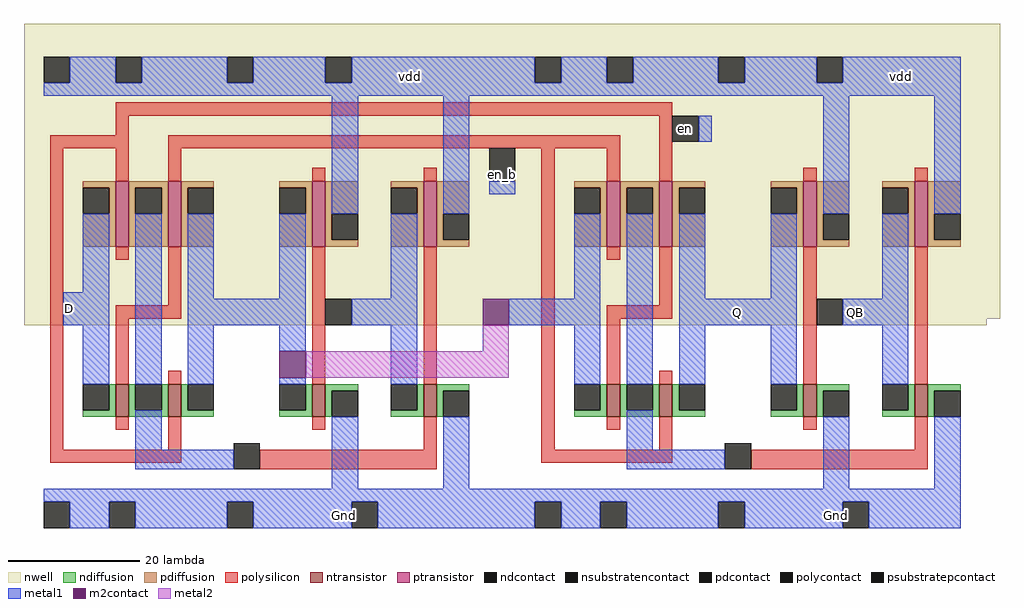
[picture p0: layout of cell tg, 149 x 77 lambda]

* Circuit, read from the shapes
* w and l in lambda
.subckt tg D Gnd Q QB en en_b vdd
M1 n1 en_b D Gnd nfet w=5 l=2
M2 n2 en n1 Gnd nfet w=5 l=2
M3 Gnd n3 n2 Gnd nfet w=5 l=2
M4 Gnd n1 n3 Gnd nfet w=5 l=2
M5 n4 en n2 Gnd nfet w=5 l=2
M6 Q en_b n4 Gnd nfet w=5 l=2
M7 Gnd QB Q Gnd nfet w=5 l=2
M8 Gnd n4 QB Gnd nfet w=5 l=2
M9 n1 en D vdd pfet w=10 l=2
M10 n2 en_b n1 vdd pfet w=10 l=2
M11 vdd n3 n2 vdd pfet w=10 l=2
M12 vdd n1 n3 vdd pfet w=10 l=2
M13 n4 en_b n2 vdd pfet w=10 l=2
M14 Q en n4 vdd pfet w=10 l=2
M15 vdd QB Q vdd pfet w=10 l=2
M16 vdd n4 QB vdd pfet w=10 l=2
.ends

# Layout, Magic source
magic
tech min2
<< nwell >>
rect -78 32 71 77
rect -78 31 69 32
<< ntransistor >>
rect -64 17 -62 22
rect -56 17 -54 22
rect -34 17 -32 22
rect -17 17 -15 22
rect 11 17 13 22
rect 19 17 21 22
rect 41 17 43 22
rect 58 17 60 22
<< ptransistor >>
rect -64 43 -62 53
rect -56 43 -54 53
rect -34 43 -32 53
rect -17 43 -15 53
rect 11 43 13 53
rect 19 43 21 53
rect 41 43 43 53
rect 58 43 60 53
<< ndiffusion >>
rect -65 18 -64 22
rect -69 17 -64 18
rect -62 18 -61 22
rect -57 18 -56 22
rect -62 17 -56 18
rect -54 18 -53 22
rect -54 17 -49 18
rect -35 18 -34 22
rect -39 17 -34 18
rect -32 21 -27 22
rect -32 17 -31 21
rect -18 18 -17 22
rect -22 17 -17 18
rect -15 21 -10 22
rect -15 17 -14 21
rect 10 18 11 22
rect 6 17 11 18
rect 13 18 14 22
rect 18 18 19 22
rect 13 17 19 18
rect 21 18 22 22
rect 21 17 26 18
rect 40 18 41 22
rect 36 17 41 18
rect 43 21 48 22
rect 43 17 44 21
rect 57 18 58 22
rect 53 17 58 18
rect 60 21 65 22
rect 60 17 61 21
<< pdiffusion >>
rect -69 52 -64 53
rect -65 48 -64 52
rect -69 43 -64 48
rect -62 52 -56 53
rect -62 48 -61 52
rect -57 48 -56 52
rect -62 43 -56 48
rect -54 52 -49 53
rect -54 48 -53 52
rect -54 43 -49 48
rect -39 52 -34 53
rect -35 48 -34 52
rect -39 43 -34 48
rect -32 48 -27 53
rect -32 44 -31 48
rect -32 43 -27 44
rect -22 52 -17 53
rect -18 48 -17 52
rect -22 43 -17 48
rect -15 48 -10 53
rect -15 44 -14 48
rect -15 43 -10 44
rect 6 52 11 53
rect 10 48 11 52
rect 6 43 11 48
rect 13 52 19 53
rect 13 48 14 52
rect 18 48 19 52
rect 13 43 19 48
rect 21 52 26 53
rect 21 48 22 52
rect 21 43 26 48
rect 36 52 41 53
rect 40 48 41 52
rect 36 43 41 48
rect 43 48 48 53
rect 43 44 44 48
rect 43 43 48 44
rect 53 52 58 53
rect 57 48 58 52
rect 53 43 58 48
rect 60 48 65 53
rect 60 44 61 48
rect 60 43 65 44
<< ndcontact >>
rect -69 18 -65 22
rect -61 18 -57 22
rect -53 18 -49 22
rect -39 18 -35 22
rect -31 17 -27 21
rect -22 18 -18 22
rect -14 17 -10 21
rect 6 18 10 22
rect 14 18 18 22
rect 22 18 26 22
rect 36 18 40 22
rect 44 17 48 21
rect 53 18 57 22
rect 61 17 65 21
<< pdcontact >>
rect -69 48 -65 52
rect -61 48 -57 52
rect -53 48 -49 52
rect -39 48 -35 52
rect -31 44 -27 48
rect -22 48 -18 52
rect -14 44 -10 48
rect 6 48 10 52
rect 14 48 18 52
rect 22 48 26 52
rect 36 48 40 52
rect 44 44 48 48
rect 53 48 57 52
rect 61 44 65 48
<< psubstratepcontact >>
rect -75 0 -71 4
rect -65 0 -61 4
rect -47 0 -43 4
rect -28 0 -24 4
rect 0 0 4 4
rect 10 0 14 4
rect 28 0 32 4
rect 47 0 51 4
<< nsubstratencontact >>
rect -75 68 -71 72
rect -64 68 -60 72
rect -47 68 -43 72
rect -32 68 -28 72
rect 0 68 4 72
rect 11 68 15 72
rect 28 68 32 72
rect 43 68 47 72
<< polysilicon >>
rect -64 63 21 65
rect -64 60 -62 63
rect -74 58 -62 60
rect -74 12 -72 58
rect -64 53 -62 58
rect -56 58 13 60
rect -56 53 -54 58
rect -34 53 -32 55
rect -17 53 -15 55
rect -64 41 -62 43
rect -56 34 -54 43
rect -64 32 -54 34
rect -64 22 -62 32
rect -56 22 -54 24
rect -34 22 -32 43
rect -17 22 -15 43
rect -64 15 -62 17
rect -56 12 -54 17
rect -34 15 -32 17
rect -74 10 -54 12
rect -17 12 -15 17
rect -42 9 -15 12
rect 1 12 3 58
rect 11 53 13 58
rect 19 53 21 63
rect 41 53 43 55
rect 58 53 60 55
rect 11 41 13 43
rect 19 34 21 43
rect 11 32 21 34
rect 11 22 13 32
rect 19 22 21 24
rect 41 22 43 43
rect 58 22 60 43
rect 11 15 13 17
rect 19 12 21 17
rect 41 15 43 17
rect 1 10 21 12
rect 58 12 60 17
rect 33 9 60 12
<< polycontact >>
rect -7 53 -3 58
rect -32 31 -28 35
rect -46 9 -42 13
rect 21 59 25 63
rect 43 31 47 35
rect 29 9 33 13
<< metal1 >>
rect -71 68 -64 72
rect -60 68 -47 72
rect -43 68 -32 72
rect -28 68 0 72
rect 4 68 11 72
rect 15 68 28 72
rect 32 68 43 72
rect 47 68 65 72
rect -75 66 65 68
rect -69 36 -65 48
rect -72 31 -65 36
rect -69 22 -65 31
rect -61 22 -57 48
rect -53 35 -49 48
rect -39 35 -35 48
rect -31 48 -27 66
rect -22 35 -18 48
rect -14 48 -10 66
rect 25 59 27 63
rect -7 51 -3 53
rect 6 35 10 48
rect -53 31 -35 35
rect -28 31 -18 35
rect -4 31 10 35
rect -53 22 -49 31
rect -39 27 -35 31
rect -39 22 -35 23
rect -22 22 -18 31
rect -61 12 -57 18
rect 6 22 10 31
rect -61 9 -46 12
rect -31 6 -27 17
rect 14 22 18 48
rect 22 35 26 48
rect 36 35 40 48
rect 44 48 48 66
rect 53 35 57 48
rect 61 48 65 66
rect 22 31 40 35
rect 47 31 57 35
rect 22 22 26 31
rect 36 22 40 31
rect 53 22 57 31
rect -14 6 -10 17
rect 14 12 18 18
rect 14 9 29 12
rect 44 6 48 17
rect 61 6 65 17
rect -75 4 65 6
rect -71 0 -65 4
rect -61 0 -47 4
rect -43 0 -28 4
rect -24 0 0 4
rect 4 0 10 4
rect 14 0 28 4
rect 32 0 47 4
rect 51 0 65 4
<< m2contact >>
rect -8 31 -4 35
rect -39 23 -35 27
<< metal2 >>
rect -8 27 -4 31
rect -35 23 -4 27
<< labels >>
rlabel metal1 56 69 56 69 5 vdd
rlabel metal1 46 2 46 2 1 Gnd
rlabel metal1 31 33 31 33 1 Q
rlabel metal1 -71 33 -71 34 3 D
rlabel metal1 -19 69 -19 69 5 vdd
rlabel metal1 -29 2 -29 2 1 Gnd
rlabel polycontact 23 61 23 61 1 en
rlabel metal1 49 33 49 33 1 QB
rlabel polycontact -5 54 -5 54 1 en_b
<< end >>
